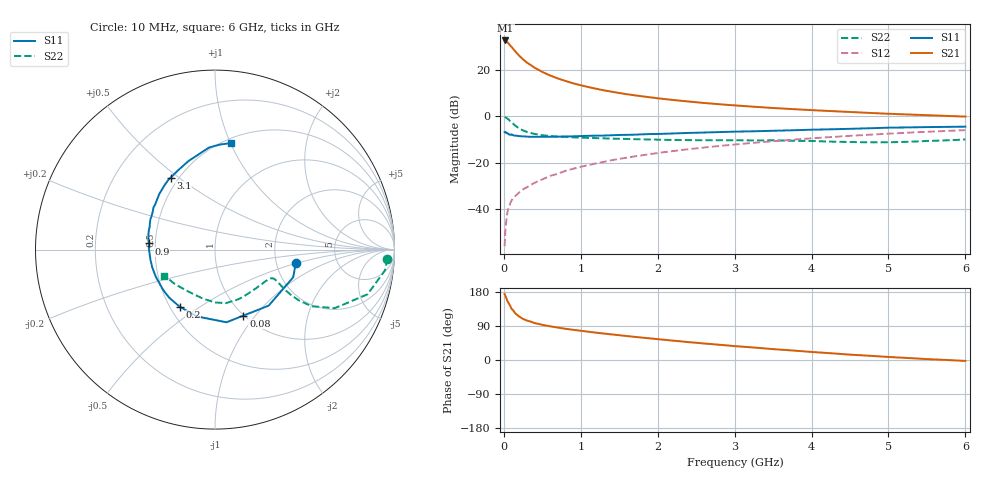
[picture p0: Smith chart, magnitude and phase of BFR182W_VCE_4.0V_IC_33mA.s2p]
! Infineon Technologies  Discrete & RF Semiconductors
! BFR182W
! VCE =  4.0 V,  IC =  33 mA
! Common Emitter S-Parameters:  Jan 2017
# GHz  S  MA  R  50
!  f  S11  S21  S12  S22
! GHz  MAG  ANG  MAG  ANG  MAG  ANG  MAG  ANG
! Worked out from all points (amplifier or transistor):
!   77 points, 10 MHz to 6 GHz, reference 50 ohm
!   highest |S21| = 32.7 dB at 20 MHz (marker M1)
!   |S21| within 3 dB of that: start of sweep to 106.2 MHz
!   unconditionally stable (mu >= 1): 583.2 MHz to 2.242 GHz
!   at 130 MHz: K = 0.54, MSG = 31.9 dB, |S12| = -35.0 dB
!   at 2.2 GHz: K = 1.00, MAG = 10.6 dB, |S12| = -15.0 dB
!   at 6 GHz: K = 0.86, MSG = 2.9 dB, |S12| = -5.9 dB
!   S11 on the Smith chart (normalised r, x): 10 MHz: 2.57, -0.50; 80 MHz: 1.00, -0.87; 200 MHz: 0.56, -0.42; 900 MHz: 0.46, +0.04; 3.1 GHz: 0.45, +0.47; 6 GHz: 0.54, +1.00
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0.01  0.4563 -9.7  42.84 174.2  0.0016 92.0  0.9617 -3.0
0.02  0.4622 -19.5  42.99 169.0  0.0035 89.2  0.9543 -6.9
0.05  0.4323 -46.2  38.97 154.1  0.0092 71.3  0.8862 -16.3
0.08  0.4003 -66.7  33.91 143.8  0.0129 67.9  0.7967 -21.8
0.1  0.4099 -81.0  31.32 135.2  0.0154 66.6  0.7419 -26.1
0.15  0.3857 -104.9  24.81 122.9  0.0193 63.2  0.6264 -30.3
0.2  0.3743 -121.6  20.12 114.6  0.0229 65.3  0.5485 -31.2
0.25  0.3701 -133.6  16.84 108.4  0.0269 65.4  0.4965 -30.9
0.3  0.3658 -142.4  14.35 104.1  0.0296 66.1  0.4597 -30.1
0.4  0.3626 -154.8  11.12 97.5  0.037 68.7  0.4167 -28.5
0.5  0.3635 -163.7  9.017 92.8  0.0439 69.7  0.3924 -27.3
0.6  0.3639 -170.8  7.598 88.9  0.052 71.2  0.3763 -26.6
0.7  0.3648 -175.9  6.554 85.6  0.0577 72.7  0.3664 -26.3
0.9  0.3708 174.7  5.143 79.7  0.0742 73.2  0.3527 -27.0
1.1  0.3805 167.4  4.258 74.6  0.0893 73.2  0.3436 -28.6
1.3  0.3854 160.7  3.63 69.8  0.1049 72.7  0.336 -30.8
1.5  0.3967 155.4  3.178 65.4  0.1211 72.3  0.3284 -33.7
2.1  0.4219 141.0  2.345 53.1  0.1703 68.8  0.3117 -45.5
3.1  0.4708 121.7  1.673 35.2  0.2557 61.3  0.304 -69.2
4.1  0.519 105.3  1.334 19.9  0.3445 52.1  0.2905 -92.8
5.1  0.5724 92.1  1.119 6.9  0.4316 41.7  0.2783 -125.6
6  0.5991 81.7  0.986 -2.4  0.5042 31.9  0.3168 -152.9
